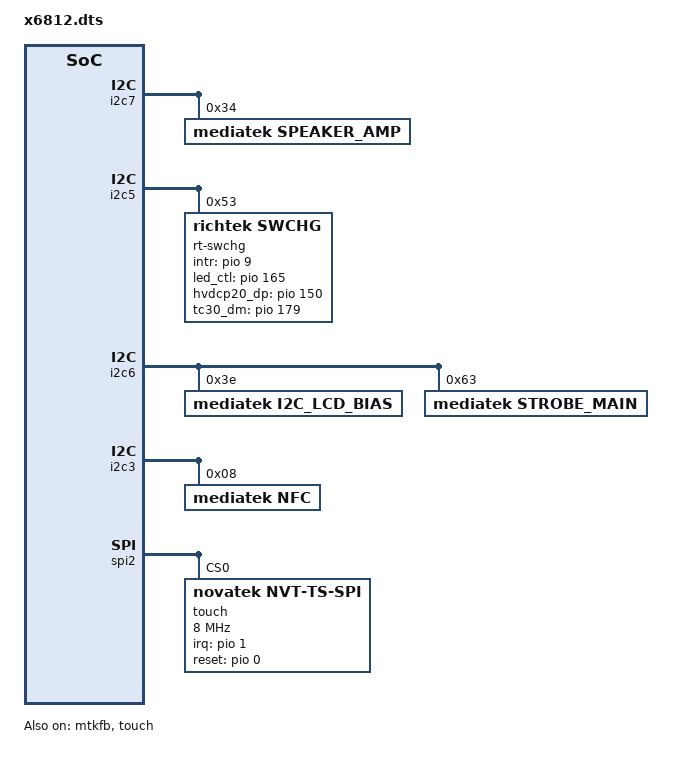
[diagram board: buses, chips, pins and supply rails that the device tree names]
// SPDX-License-Identifier: GPL-2.0
/*
 * Device Tree for Infinix Note 10 (X6812 / H6912)
 * Derived from live X6812 FDT and MediaTek MT6768 base.
 */

#include "mt6768.dts"
#include <dt-bindings/interrupt-controller/irq.h>
#include <dt-bindings/pinctrl/mt6768-pinfunc.h>

&chosen {
	atag,videolfb-fb_base_l = <0x7e605000>;
	atag,videolfb-fb_base_h = <0x0>;
	atag,videolfb-islcmfound = <1>;
	atag,videolfb-islcm_inited = <0>;
	atag,videolfb-fps = <6000>;
	atag,videolfb-vramSize = <0x017e8000>;
	atag,videolfb-lcmname = "nt36672c_fhdp_dsi_vdo_60hz_wo_dsc_shenchao_lcm_drv";
};

&reserved_memory {
	reserve-memory-scp_share {
		compatible = "mediatek,reserve-memory-scp_share";
		no-map;
		size = <0 0x00d00000>;
		alignment = <0 0x1000000>;
		alloc-ranges = <0 0x40000000 0 0x50000000>;
	};
};

/* Disable unused MT6370 sub-PMIC from mt6768.dts */
&mt6370_pmu {
	status = "disabled";
};

/* Move RT9471 from i2c7 (selene/mt6768 default) to i2c5 (X6812) */
&i2c7 {
	/delete-node/ rt-swchg@53;

	speaker_amp@34 {
		compatible = "mediatek,speaker_amp";
		#sound-dai-cells = <0>;
		reg = <0x34>;
		status = "okay";
	};
};

&i2c5 {
	#address-cells = <1>;
	#size-cells = <0>;

	rt-swchg@53 {
		compatible = "richtek,swchg";
		reg = <0x53>;
		status = "okay";
		rt,intr_gpio_num = <9>;
		rt,intr_gpio = <&pio 9 0x0>;
		led_ctl_gpio = <&pio 165 0x0>;
		hvdcp20_dp_gpio = <&pio 150 0x0>;
		tc30_dm_gpio = <&pio 179 0x0>;

		rt9471 {
			chg_name = "primary_chg";
			chg_alias_name = "rt9471_chg";
			rm-dev-addr = /bits/ 8 <0x53>;
			rm-name = "rt9471";
			interrupt-names = "wdt", "chg_mivr", "vac_ov",
					  "otg_fault", "chg_rdy", "chg_done",
					  "aicc_done", "pe_done", "chg_tout",
					  "ieoc", "rechg", "chg_batov";
			vac_ovp = <14000000>;
			mivr = <4400000>;
			aicr = <500000>;
			cv = <4400000>;
			ichg = <1500000>;
			ieoc = <200000>;
			safe_tmr = <10>;
			wdt = <40>;
			mivr_track = <0>;
			en_safe_tmr;
			en_te;
			en_qon_rst;
		};
	};
};

&i2c6 {
	i2c_lcd_bias@3e {
		compatible = "mediatek,i2c_lcd_bias";
		reg = <0x3e>;
		status = "okay";
	};

	strobe_main@63 {
		compatible = "mediatek,strobe_main";
		reg = <0x63>;
		status = "okay";
	};
};

&i2c3 {
	nfc@08 {
		compatible = "mediatek,nfc";
		reg = <0x8>;
		status = "okay";
	};
};

/* Display (NT36672C 60Hz Shenchao + Bias ENP/ENN) */
&pio {
	mtkfb_pins_lcm_rst_out1_gpio: lcm_rst_out1_gpio {
		pins_cmd_dat {
			pinmux = <PINMUX_GPIO45__FUNC_GPIO45>;
			slew-rate = <1>;
			output-high;
		};
	};

	mtkfb_pins_lcm_rst_out0_gpio: lcm_rst_out0_gpio {
		pins_cmd_dat {
			pinmux = <PINMUX_GPIO45__FUNC_GPIO45>;
			slew-rate = <1>;
			output-low;
		};
	};

	mtkfb_pins_lcm_dsi_te: lcm_dsi_te {
		pins_cmd_dat {
			pinmux = <PINMUX_GPIO44__FUNC_DSI_TE>;
		};
	};

	mtkfb_pins_lcd_bias_enp1_gpio: lcd_bias_enp1_gpio {
		pins_cmd_dat {
			pinmux = <PINMUX_GPIO153__FUNC_GPIO153>;
			slew-rate = <1>;
			output-high;
		};
	};

	mtkfb_pins_lcd_bias_enp0_gpio: lcd_bias_enp0_gpio {
		pins_cmd_dat {
			pinmux = <PINMUX_GPIO153__FUNC_GPIO153>;
			slew-rate = <1>;
			output-low;
		};
	};

	mtkfb_pins_lcd_bias_enn1_gpio: lcd_bias_enn1_gpio {
		pins_cmd_dat {
			pinmux = <PINMUX_GPIO152__FUNC_GPIO152>;
			slew-rate = <1>;
			output-high;
		};
	};

	mtkfb_pins_lcd_bias_enn0_gpio: lcd_bias_enn0_gpio {
		pins_cmd_dat {
			pinmux = <PINMUX_GPIO152__FUNC_GPIO152>;
			slew-rate = <1>;
			output-low;
		};
	};

	ctp_pins_default: eint0default {
	};

	ctp_pins_eint_as_int: eint@0 {
		pins_cmd_dat {
			pinmux = <PINMUX_GPIO1__FUNC_GPIO1>;
			slew-rate = <0>;
			bias-disable;
		};
	};

	ctp_pins_eint_output0: eintoutput0 {
		pins_cmd_dat {
			pinmux = <PINMUX_GPIO1__FUNC_GPIO1>;
			slew-rate = <1>;
			output-low;
		};
	};

	ctp_pins_eint_output1: eintoutput1 {
		pins_cmd_dat {
			pinmux = <PINMUX_GPIO1__FUNC_GPIO1>;
			slew-rate = <1>;
			output-high;
		};
	};

	ctp_pins_rst_output0: rstoutput0 {
		pins_cmd_dat {
			pinmux = <PINMUX_GPIO0__FUNC_GPIO0>;
			slew-rate = <1>;
			output-low;
		};
	};

	ctp_pins_rst_output1: rstoutput1 {
		pins_cmd_dat {
			pinmux = <PINMUX_GPIO0__FUNC_GPIO0>;
			slew-rate = <1>;
			output-high;
		};
	};
};

&mtkfb {
	pinctrl-names = "lcm_rst_out1_gpio", "lcm_rst_out0_gpio",
			"mode_te_te", "lcd_bias_enp1_gpio",
			"lcd_bias_enp0_gpio", "lcd_bias_enn1_gpio",
			"lcd_bias_enn0_gpio";
	pinctrl-0 = <&mtkfb_pins_lcm_rst_out1_gpio>;
	pinctrl-1 = <&mtkfb_pins_lcm_rst_out0_gpio>;
	pinctrl-2 = <&mtkfb_pins_lcm_dsi_te>;
	pinctrl-3 = <&mtkfb_pins_lcd_bias_enp1_gpio>;
	pinctrl-4 = <&mtkfb_pins_lcd_bias_enp0_gpio>;
	pinctrl-5 = <&mtkfb_pins_lcd_bias_enn1_gpio>;
	pinctrl-6 = <&mtkfb_pins_lcd_bias_enn0_gpio>;
	status = "okay";
};

/* Touchscreen (Novatek NT36672C SPI on spi2) */
&touch {
	tpd-resolution = <1080 2460>;
	use-tpd-button = <0>;
	tpd-key-num = <3>;
	tpd-key-local = <139 172 158 0>;
	tpd-key-dim-local = <90 883 100 40 230 883 100 40 370 883 100 40 0 0 0 0>;
	tpd-max-touch-num = <10>;
	tpd-filter-enable = <0>;
	tpd-filter-pixel-density = <168>;
	pinctrl-names = "default", "state_eint_as_int",
			"state_eint_output0", "state_eint_output1",
			"state_rst_output0", "state_rst_output1";
	pinctrl-0 = <&ctp_pins_default>;
	pinctrl-1 = <&ctp_pins_eint_as_int>;
	pinctrl-2 = <&ctp_pins_eint_output0>;
	pinctrl-3 = <&ctp_pins_eint_output1>;
	pinctrl-4 = <&ctp_pins_rst_output0>;
	pinctrl-5 = <&ctp_pins_rst_output1>;
	interrupt-parent = <&pio>;
	interrupts = <1 IRQ_TYPE_EDGE_FALLING 1 0>;
	vtouch-supply = <&mt_pmic_vldo28_ldo_reg>;
	status = "okay";
};

&spi2 {
	status = "okay";
	#address-cells = <1>;
	#size-cells = <0>;

	touch@0 {
		compatible = "novatek,NVT-ts-spi";
		reg = <0>;
		spi-max-frequency = <8000000>;
		novatek,irq-gpio = <&pio 1 0>;
		novatek,reset-gpio = <&pio 0 0>;
		novatek,swrst-n8-addr = <0x3f0fe>;
		novatek,spi-rd-fast-addr = <0x3f310>;
		status = "okay";
	};
};
